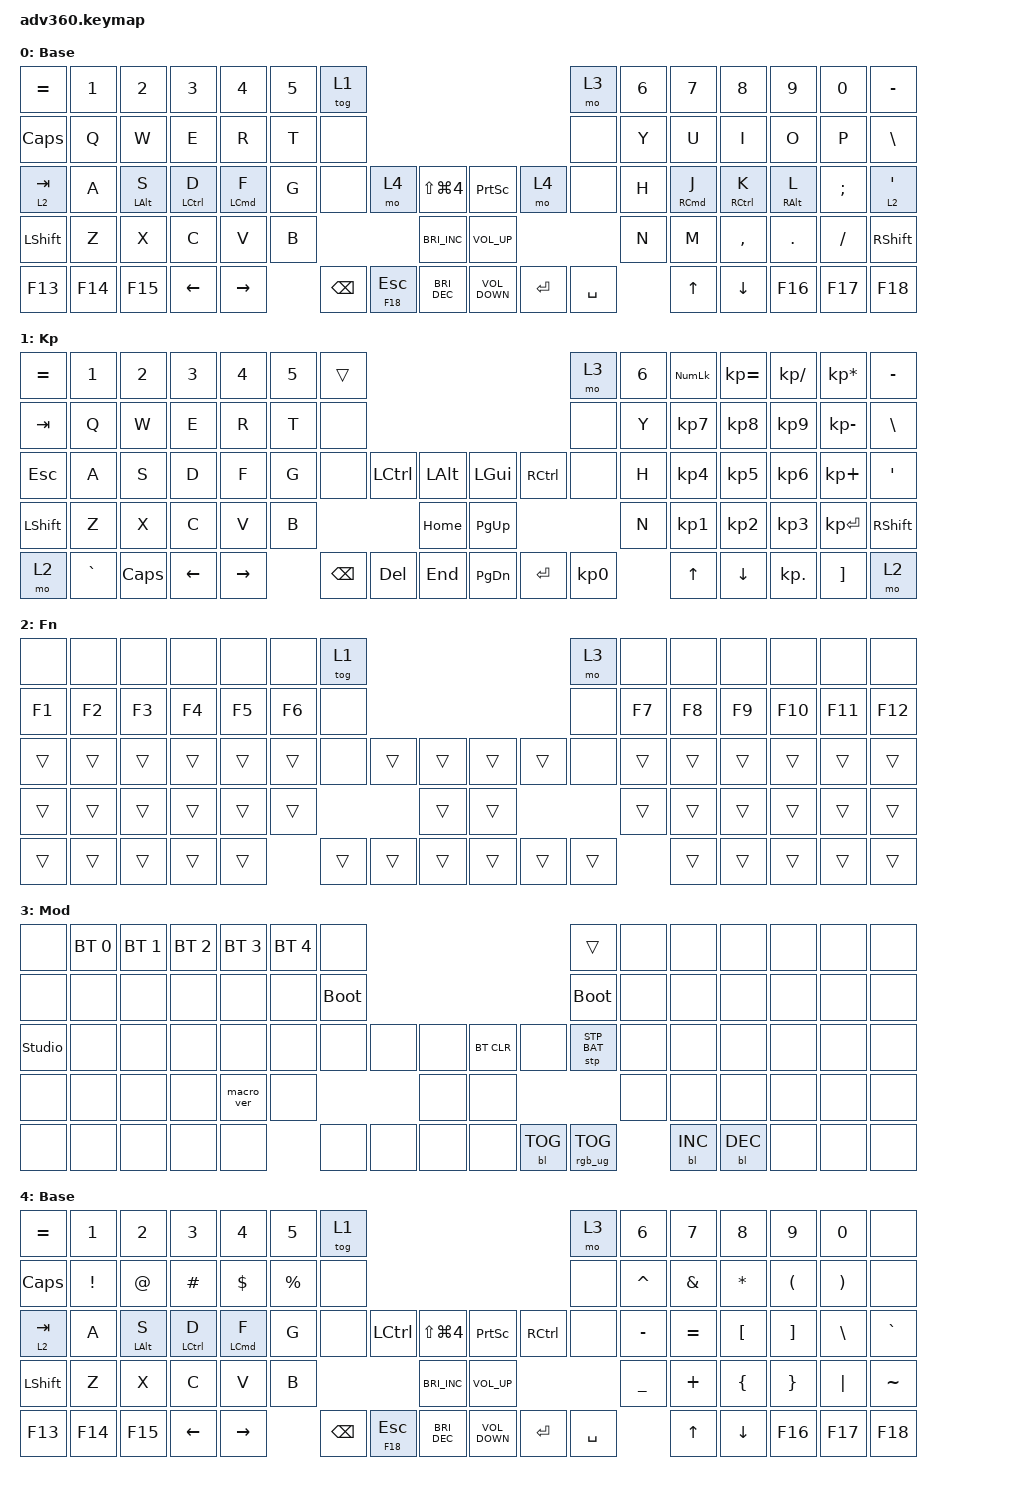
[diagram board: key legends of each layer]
#include <dt-bindings/zmk/stp.h>
#include <behaviors.dtsi>
#include <dt-bindings/zmk/backlight.h>
#include <dt-bindings/zmk/bt.h>
#include <dt-bindings/zmk/keys.h>
#include <dt-bindings/zmk/rgb.h>

/ {
    behaviors {
        #include "macros.dtsi"
      #include "version.dtsi"

        hm: homerow_mods {
            compatible = "zmk,behavior-hold-tap";
            label = "HOMEROW_MODS";
            #binding-cells = <2>;
            tapping-term-ms = <200>;
            quick_tap_ms = <175>;
            flavor = "tap-preferred";
            bindings = <&kp>, <&kp>;
        };
    };

    keymap {
        compatible = "zmk,keymap";

        default_layer {
            display-name = "Base";
            bindings = <
&kp EQUAL  &kp N1   &kp N2          &kp N3              &kp N4              &kp N5  &tog 1                                                                            &mo 3      &kp N6  &kp N7               &kp N8               &kp N9           &kp N0    &kp MINUS
&kp CAPS   &kp Q    &kp W           &kp E               &kp R               &kp T   &none                                                                             &none      &kp Y   &kp U                &kp I                &kp O            &kp P     &kp BSLH
&lt 2 TAB  &kp A    &hm LEFT_ALT S  &hm LEFT_CONTROL D  &hm LEFT_COMMAND F  &kp G   &none     &mo 4           &kp LS(LG(NUMBER_4))      &kp PRINTSCREEN    &mo 4      &none      &kp H   &hm RIGHT_COMMAND J  &hm RIGHT_CONTROL K  &hm RIGHT_ALT L  &kp SEMI  &lt 2 APOS
&kp LSHFT  &kp Z    &kp X           &kp C               &kp V               &kp B                             &kp C_BRIGHTNESS_INC      &kp C_VOLUME_UP                          &kp N   &kp M                &kp COMMA            &kp DOT          &kp FSLH  &kp RSHFT
&kp F13    &kp F14  &kp F15         &kp LEFT            &kp RIGHT                   &kp BSPC  &hm F18 ESCAPE  &kp C_BRIGHTNESS_DEC      &kp C_VOLUME_DOWN  &kp ENTER  &kp SPACE          &kp UP               &kp DOWN             &kp F16          &kp F17   &kp F18
            >;
        };

        keypad {
            display-name = "Kp";
            bindings = <
&kp EQUAL  &kp N1     &kp N2    &kp N3    &kp N4     &kp N5  &trans                                                   &mo 3      &kp N6  &kp KP_NUM  &kp KP_EQUAL  &kp KP_DIVIDE  &kp KP_MULTIPLY  &kp MINUS
&kp TAB    &kp Q      &kp W     &kp E     &kp R      &kp T   &none                                                    &none      &kp Y   &kp KP_N7   &kp KP_N8     &kp KP_N9      &kp KP_MINUS     &kp BSLH
&kp ESC    &kp A      &kp S     &kp D     &kp F      &kp G   &none     &kp LCTRL  &kp LALT      &kp LGUI   &kp RCTRL  &none      &kp H   &kp KP_N4   &kp KP_N5     &kp KP_N6      &kp KP_PLUS      &kp SQT
&kp LSHFT  &kp Z      &kp X     &kp C     &kp V      &kp B                        &kp HOME      &kp PG_UP                        &kp N   &kp KP_N1   &kp KP_N2     &kp KP_N3      &kp KP_ENTER     &kp RSHFT
&mo 2      &kp GRAVE  &kp CAPS  &kp LEFT  &kp RIGHT          &kp BSPC  &kp DEL    &kp END       &kp PG_DN  &kp ENTER  &kp KP_N0          &kp UP      &kp DOWN      &kp KP_DOT     &kp RBKT         &mo 2
            >;
        };

        fn {
            display-name = "Fn";
            bindings = <
&none   &none   &none   &none   &none   &none   &tog 1                                      &mo 3   &none   &none   &none   &none    &none    &none
&kp F1  &kp F2  &kp F3  &kp F4  &kp F5  &kp F6  &none                                       &none   &kp F7  &kp F8  &kp F9  &kp F10  &kp F11  &kp F12
&trans  &trans  &trans  &trans  &trans  &trans  &none   &trans  &trans      &trans  &trans  &none   &trans  &trans  &trans  &trans   &trans   &trans
&trans  &trans  &trans  &trans  &trans  &trans                  &trans      &trans                  &trans  &trans  &trans  &trans   &trans   &trans
&trans  &trans  &trans  &trans  &trans          &trans  &trans  &trans      &trans  &trans  &trans          &trans  &trans  &trans   &trans   &trans
            >;
        };

        mod {
            display-name = "Mod";
            bindings = <
&none           &bt BT_SEL 0  &bt BT_SEL 1  &bt BT_SEL 2  &bt BT_SEL 3  &bt BT_SEL 4  &none                                                  &trans           &none  &none       &none       &none  &none  &none
&none           &none         &none         &none         &none         &none         &bootloader                                            &bootloader      &none  &none       &none       &none  &none  &none
&studio_unlock  &none         &none         &none         &none         &none         &none        &none  &none      &bt BT_CLR  &none       &stp STP_BAT     &none  &none       &none       &none  &none  &none
&none           &none         &none         &none         &macro_ver    &none                             &none      &none                                    &none  &none       &none       &none  &none  &none
&none           &none         &none         &none         &none                       &none        &none  &none      &none       &bl BL_TOG  &rgb_ug RGB_TOG         &bl BL_INC  &bl BL_DEC  &none  &none  &none
            >;
        };

        symbols {
            display-name = "Base";
            bindings = <
&kp EQUAL  &kp N1    &kp N2          &kp N3              &kp N4              &kp N5       &tog 1                                                                            &mo 3      &kp N6     &kp N7     &kp N8            &kp N9                &kp N0                 &none
&kp CAPS   &kp EXCL  &kp AT          &kp HASH            &kp DOLLAR          &kp PERCENT  &none                                                                             &none      &kp CARET  &kp AMPS   &kp ASTERISK      &kp LEFT_PARENTHESIS  &kp RIGHT_PARENTHESIS  &none
&lt 2 TAB  &kp A     &hm LEFT_ALT S  &hm LEFT_CONTROL D  &hm LEFT_COMMAND F  &kp G        &none     &kp LCTRL       &kp LS(LG(NUMBER_4))      &kp PRINTSCREEN    &kp RCTRL  &none      &kp MINUS  &kp EQUAL  &kp LEFT_BRACKET  &kp RIGHT_BRACKET     &kp BACKSLASH          &kp GRAVE
&kp LSHFT  &kp Z     &kp X           &kp C               &kp V               &kp B                                  &kp C_BRIGHTNESS_INC      &kp C_VOLUME_UP                          &kp UNDER  &kp PLUS   &kp LEFT_BRACE    &kp RIGHT_BRACE       &kp PIPE               &kp TILDE
&kp F13    &kp F14   &kp F15         &kp LEFT            &kp RIGHT                        &kp BSPC  &hm F18 ESCAPE  &kp C_BRIGHTNESS_DEC      &kp C_VOLUME_DOWN  &kp ENTER  &kp SPACE             &kp UP     &kp DOWN          &kp F16               &kp F17                &kp F18
            >;
        };

        extra1 {
            display-name = "Red";
            status = "reserved";
        };

        extra2 {
            display-name = "Purple";
            status = "reserved";
        };

        extra3 {
            display-name = "Cyan";
            status = "reserved";
        };

        extra4 {
            display-name = "Yellow";
            status = "reserved";
        };
    };
};
